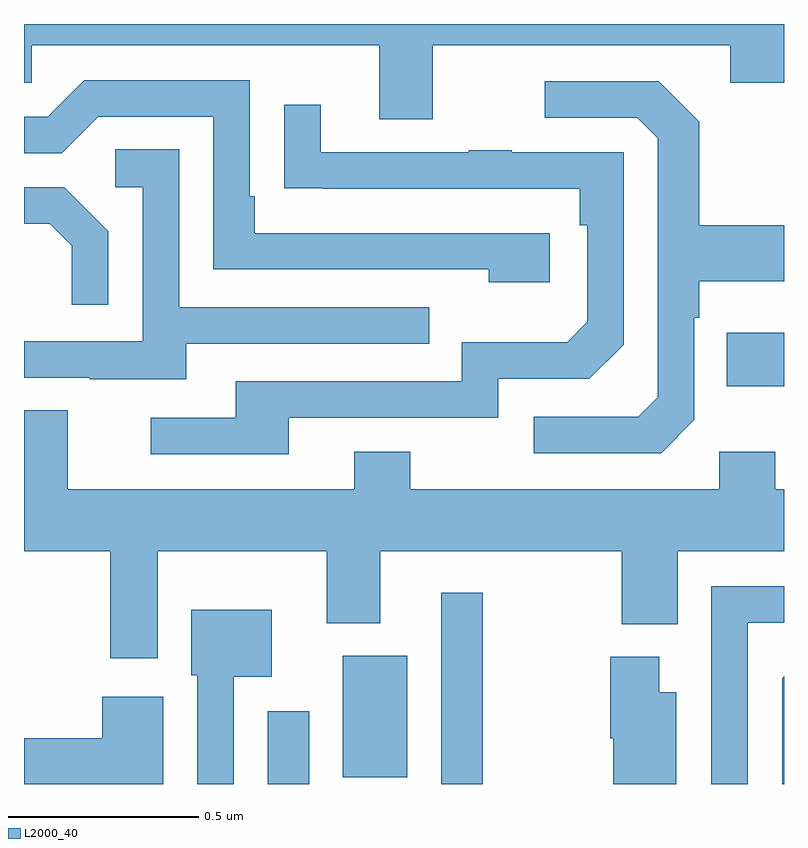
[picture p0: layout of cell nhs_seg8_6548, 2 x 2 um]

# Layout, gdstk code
import gdstk
lib = gdstk.Library(unit=1e-6, precision=1e-09)
def R(c, l, rs):  # rectangles x0, y0, x1, y1
    for r in rs: c.add(gdstk.rectangle(r[:2], r[2:], *l))
def P(c, l, *ps):  # polygons
    for p in ps: c.add(gdstk.Polygon(p, *l))
L2000_40 = (2000, 40)

nhs_seg8_6548 = lib.new_cell('nhs_seg8_6548')
R(nhs_seg8_6548, L2000_40, [(198.641,1103.9,198.751,1104.091), (199.098,1103.9,199.207,1104.403), (198.839,1103.918,199.009,1104.238), (199.849,1104.947,200,1105.087)])
P(nhs_seg8_6548, L2000_40, [(199.075,1105.844),(199.859,1105.844),(199.859,1105.745),(200,1105.745),(200,1105.9),(198,1105.9),(198,1105.746),(198.021,1105.746),(198.021,1105.844),(198.935,1105.844),(198.935,1105.65),(199.075,1105.65)],
  [(199.384,1105.35),(198.607,1105.35),(198.607,1105.447),(198.594,1105.447),(198.594,1105.752),(198.159,1105.752),(198.063,1105.656),(198,1105.656),(198,1105.56),(198.099,1105.56),(198.195,1105.656),(198.498,1105.656),(198.498,1105.254),(199.223,1105.254),(199.223,1105.22),(199.384,1105.22)],
  [(199.764,1104.858),(199.764,1105.127),(199.777,1105.127),(199.777,1105.223),(200,1105.223),(200,1105.371),(199.777,1105.371),(199.777,1105.643),(199.671,1105.749),(199.371,1105.749),(199.371,1105.653),(199.614,1105.653),(199.668,1105.599),(199.668,1104.918),(199.617,1104.867),(199.341,1104.867),(199.341,1104.771),(199.677,1104.771)],
  [(198.697,1104.864),(199.248,1104.864),(199.248,1104.966),(199.488,1104.966),(199.578,1105.056),(199.578,1105.563),(199.283,1105.563),(199.283,1105.568),(199.171,1105.568),(199.171,1105.563),(198.781,1105.563),(198.781,1105.687),(198.685,1105.687),(198.685,1105.468),(198.787,1105.468),(198.787,1105.467),(199.462,1105.467),(199.462,1105.37),(199.482,1105.37),(199.482,1105.116),(199.429,1105.063),(199.152,1105.063),(199.152,1104.96),(198.557,1104.96),(198.557,1104.864),(198.333,1104.864),(198.333,1104.768),(198.697,1104.768)],
  [(198.427,1105.059),(199.067,1105.059),(199.067,1105.155),(198.408,1105.155),(198.408,1105.571),(198.24,1105.571),(198.24,1105.47),(198.312,1105.47),(198.312,1105.065),(198,1105.065),(198,1104.969),(198.173,1104.969),(198.173,1104.965),(198.427,1104.965)],
  [(198.222,1105.354),(198.106,1105.47),(198,1105.47),(198,1105.374),(198.068,1105.374),(198.125,1105.317),(198.125,1105.161),(198.222,1105.161)],
  [(198.352,1104.512),(198.797,1104.512),(198.797,1104.323),(198.937,1104.323),(198.937,1104.512),(199.573,1104.512),(199.573,1104.32),(199.72,1104.32),(199.72,1104.512),(200,1104.512),(200,1104.676),(199.977,1104.676),(199.977,1104.775),(199.83,1104.775),(199.83,1104.676),(199.017,1104.676),(199.017,1104.775),(198.869,1104.775),(198.869,1104.676),(198.115,1104.676),(198.115,1104.884),(198,1104.884),(198,1104.512),(198.227,1104.512),(198.227,1104.231),(198.352,1104.231)],
  [(199.905,1104.324),(200,1104.324),(200,1104.42),(199.809,1104.42),(199.809,1103.9),(199.905,1103.9)],
  [(198.552,1104.182),(198.652,1104.182),(198.652,1104.358),(198.44,1104.358),(198.44,1104.186),(198.456,1104.186),(198.456,1103.9),(198.552,1103.9)],
  [(199.717,1104.142),(199.672,1104.142),(199.672,1104.235),(199.543,1104.235),(199.543,1104.021),(199.55,1104.021),(199.55,1103.9),(199.717,1103.9)],
  [(200,1104.183),(199.995,1104.178),(199.995,1103.9),(200,1103.9)],
  [(198.367,1104.13),(198.206,1104.13),(198.206,1104.02),(198,1104.02),(198,1103.9),(198.367,1103.9)])

lib.write_gds('nhs_seg8_6548.gds')
